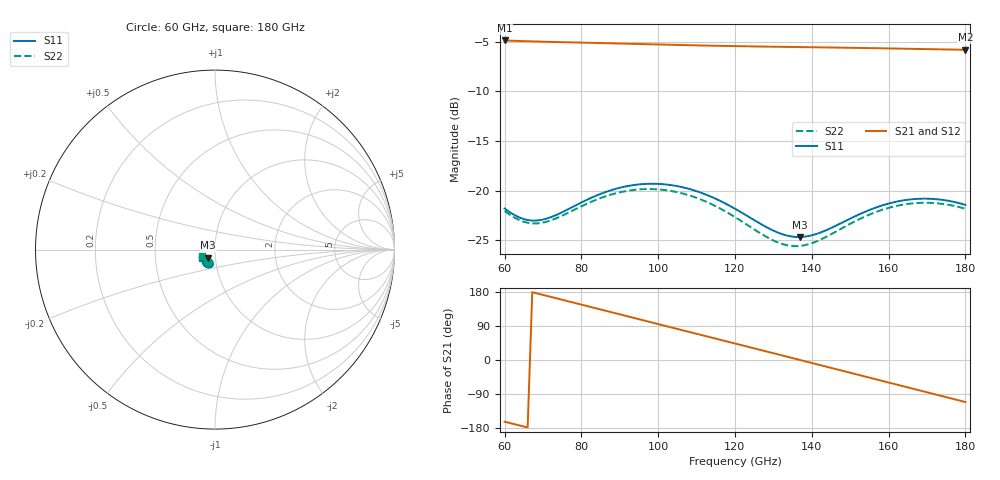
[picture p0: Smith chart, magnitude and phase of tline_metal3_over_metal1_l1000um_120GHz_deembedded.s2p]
! Created with skrf 2.0.1 (http://scikit-rf.org).
# GHz S DB R 50.0
!freq dBS11 angS11 dBS21 angS21 dBS12 angS12 dBS22 angS22
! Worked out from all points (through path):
!   101 points, 60 GHz to 180 GHz, reference 50 ohm
!   highest |S21| = -4.86 dB at 60 GHz (marker M1); lowest = -5.8 dB at 180 GHz (marker M2)
!   group delay of S21, straight-line fit = 7.13 ps
!   lowest |S11| = -24.7 dB at 136.8 GHz (marker M3), VSWR 1.12, Z = 46.2 - j4.11 ohm
!   |S11| at or under -10 dB: start of sweep to end of sweep
!   |S22| runs from -25.6 to -19.8 dB; largest |S21 - S12| = 9.3e-14
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60  -21.79 -117.0  -4.86 -162.9  -4.86 -162.9  -22.04 -117.8
64.8  -22.83 -110.5  -4.93 -175.0  -4.93 -175.0  -23.10 -111.5
68.4  -23.00 -104.6  -4.97 175.8  -4.97 175.8  -23.30 -105.7
74.4  -22.28 -97.9  -5.03 160.5  -5.03 160.5  -22.62 -99.3
80.4  -21.11 -97.7  -5.08 145.1  -5.08 145.1  -21.49 -99.4
86.4  -20.12 -102.3  -5.14 129.7  -5.14 129.7  -20.55 -104.2
91.2  -19.59 -107.9  -5.18 117.4  -5.18 117.4  -20.07 -110.1
96  -19.33 -114.4  -5.23 105.0  -5.23 105.0  -19.85 -116.8
100.8  -19.33 -121.3  -5.27 92.7  -5.27 92.7  -19.89 -123.9
105.6  -19.59 -128.0  -5.32 80.4  -5.32 80.4  -20.20 -130.8
110.4  -20.10 -134.1  -5.36 68.1  -5.36 68.1  -20.78 -137.1
120  -21.82 -142.3  -5.43 43.5  -5.43 43.5  -22.66 -145.4
128.4  -23.71 -141.2  -5.48 22.0  -5.48 22.0  -24.69 -143.4
133.2  -24.49 -135.9  -5.51 9.7  -5.51 9.7  -25.47 -137.2
136.8  -24.67 -130.6  -5.53 0.4  -5.53 0.4  -25.57 -131.2
140.4  -24.45 -125.5  -5.55 -8.9  -5.55 -8.9  -25.23 -125.9
150  -22.81 -120.0  -5.60 -33.6  -5.60 -33.6  -23.33 -121.2
156  -21.79 -122.5  -5.64 -49.1  -5.64 -49.1  -22.25 -124.5
160.8  -21.21 -126.6  -5.67 -61.5  -5.67 -61.5  -21.65 -129.1
165.6  -20.88 -131.6  -5.70 -73.9  -5.70 -73.9  -21.30 -134.7
170.4  -20.81 -137.0  -5.74 -86.2  -5.74 -86.2  -21.22 -140.6
180  -21.43 -147.4  -5.80 -110.9  -5.80 -110.9  -21.82 -151.8
